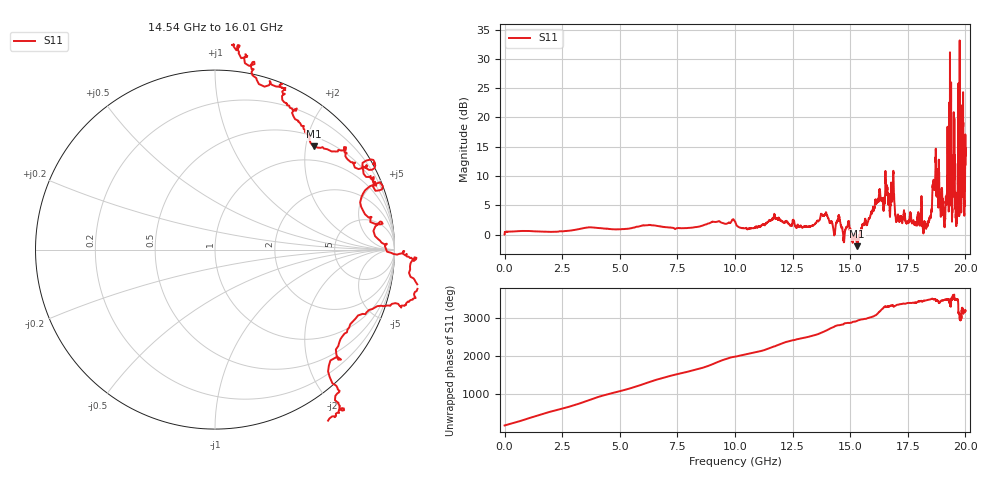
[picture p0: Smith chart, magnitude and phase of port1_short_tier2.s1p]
! Created with skrf 1.8.0 (http://scikit-rf.org).
# GHz S RI R 50.0
!freq ReS11 ImS11
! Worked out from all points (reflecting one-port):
!   10001 points, 1 MHz to 20 GHz, reference 50 ohm
!   lowest |S11| = -2.0 dB at 15.3 GHz (marker M1), VSWR 8.76, Z = 34.4 + j108 ohm
!   phase of S11 starts at 180 deg and turns +3001 deg over the sweep
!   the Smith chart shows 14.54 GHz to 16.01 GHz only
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0.001  -0.9999 0.000614
0.9789511  1.068 -0.105
2.500875  -0.1532 -1.054
3.478826  0.0946 1.134
4.336783  -0.266 -1.092
5.00075  1.108 -0.00398
5.974701  -1.188 0.0989
6.840658  1.133 -0.2828
7.500625  0.0429 1.133
8.244588  -1.113 -0.3022
9.092545  1.277 0.1078
10.0005  -1.294 -0.0936
10.82846  0.4322 -1.054
11.70641  -0.1674 1.493
12.50038  -0.2005 -1.269
13.73631  -0.0178 1.506
14.43628  0.3592 -1.239
15.00025  1.111 -0.043
15.30223  0.5488 0.5754
16.0542  -1.689 0.0096
16.24419  0.2691 -2.079
16.59017  1.143 2.27
17.50013  -1.152 0.5331
18.62007  -0.9263 -2.783
19.24404  -0.9412 -2.366
19.44603  3.176 -1.764
19.78601  5.254 9.778
20  2.443 -4.045
